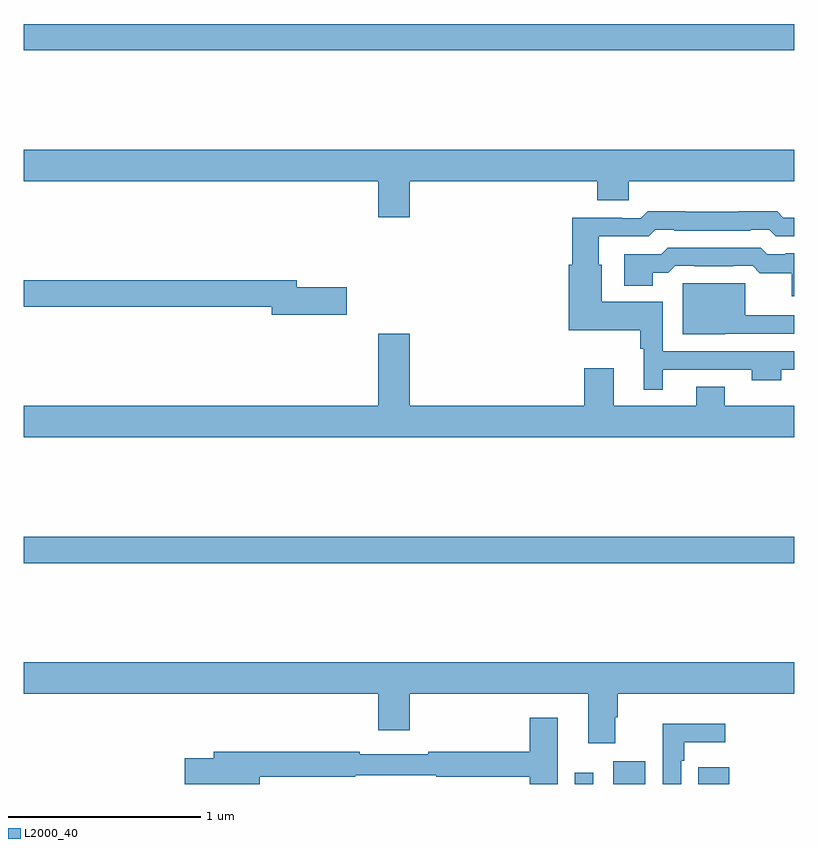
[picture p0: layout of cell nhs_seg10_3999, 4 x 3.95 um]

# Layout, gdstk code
import gdstk
lib = gdstk.Library(unit=1e-6, precision=1e-09)
def R(c, l, rs):  # rectangles x0, y0, x1, y1
    for r in rs: c.add(gdstk.rectangle(r[:2], r[2:], *l))
def P(c, l, *ps):  # polygons
    for p in ps: c.add(gdstk.Polygon(p, *l))
L2000_40 = (2000, 40)

nhs_seg10_3999 = lib.new_cell('nhs_seg10_3999')
R(nhs_seg10_3999, L2000_40, [(333.861,1314.5,333.957,1314.559), (334.061,1314.5,334.228,1314.619), (334.503,1314.5,334.664,1314.586), (331,1315.648,335,1315.784), (331,1318.312,335,1318.448)])
P(nhs_seg10_3999, L2000_40, [(333.004,1317.632),(333.977,1317.632),(333.977,1317.533),(334.142,1317.533),(334.142,1317.632),(335,1317.632),(335,1317.796),(331,1317.796),(331,1317.632),(332.84,1317.632),(332.84,1317.444),(333.004,1317.444)],
  [(334.318,1316.652),(334.78,1316.652),(334.78,1316.597),(334.935,1316.597),(334.935,1316.652),(335,1316.652),(335,1316.748),(334.317,1316.748),(334.317,1317.004),(334,1317.004),(334,1317.198),(333.985,1317.198),(333.985,1317.345),(334.245,1317.345),(334.278,1317.378),(334.378,1317.378),(334.378,1317.375),(334.772,1317.375),(334.772,1317.378),(334.872,1317.378),(334.905,1317.345),(335,1317.345),(335,1317.442),(334.945,1317.442),(334.913,1317.475),(334.714,1317.475),(334.714,1317.472),(334.436,1317.472),(334.436,1317.475),(334.241,1317.475),(334.205,1317.438),(334.106,1317.438),(334.106,1317.441),(333.848,1317.441),(333.848,1317.198),(333.83,1317.198),(333.83,1316.858),(334.201,1316.858),(334.201,1316.762),(334.22,1316.762),(334.22,1316.549),(334.318,1316.549)],
  [(335,1317.256),(334.957,1317.256),(334.957,1317.252),(334.861,1317.252),(334.828,1317.285),(334.344,1317.285),(334.311,1317.252),(334.119,1317.252),(334.119,1317.089),(334.267,1317.089),(334.267,1317.156),(334.347,1317.156),(334.383,1317.192),(334.483,1317.192),(334.483,1317.189),(334.685,1317.189),(334.685,1317.192),(334.785,1317.192),(334.823,1317.154),(334.988,1317.154),(334.988,1317.035),(335,1317.035)],
  [(332.677,1317.08),(332.416,1317.08),(332.416,1317.116),(331,1317.116),(331,1316.98),(332.288,1316.98),(332.288,1316.938),(332.677,1316.938)],
  [(334.643,1316.838),(335,1316.838),(335,1316.934),(334.747,1316.934),(334.747,1317.1),(334.421,1317.1),(334.421,1316.837),(334.643,1316.837)],
  [(335,1316.464),(334.641,1316.464),(334.641,1316.563),(334.493,1316.563),(334.493,1316.464),(334.063,1316.464),(334.063,1316.659),(333.911,1316.659),(333.911,1316.464),(333.004,1316.464),(333.004,1316.839),(332.84,1316.839),(332.84,1316.464),(331,1316.464),(331,1316.3),(335,1316.3)],
  [(334.072,1314.848),(334.085,1314.848),(334.085,1314.968),(335,1314.968),(335,1315.132),(331,1315.132),(331,1314.968),(332.84,1314.968),(332.84,1314.78),(333.004,1314.78),(333.004,1314.968),(333.932,1314.968),(333.932,1314.711),(334.072,1314.711)],
  [(332.224,1314.538),(332.72,1314.538),(332.72,1314.546),(333.142,1314.546),(333.142,1314.538),(333.626,1314.538),(333.626,1314.5),(333.772,1314.5),(333.772,1314.844),(333.626,1314.844),(333.626,1314.667),(333.1,1314.667),(333.1,1314.654),(332.744,1314.654),(332.744,1314.667),(331.985,1314.667),(331.985,1314.633),(331.836,1314.633),(331.836,1314.5),(332.224,1314.5)],
  [(334.413,1314.62),(334.429,1314.62),(334.429,1314.716),(334.642,1314.716),(334.642,1314.814),(334.317,1314.814),(334.317,1314.5),(334.413,1314.5)])

lib.write_gds('nhs_seg10_3999.gds')
